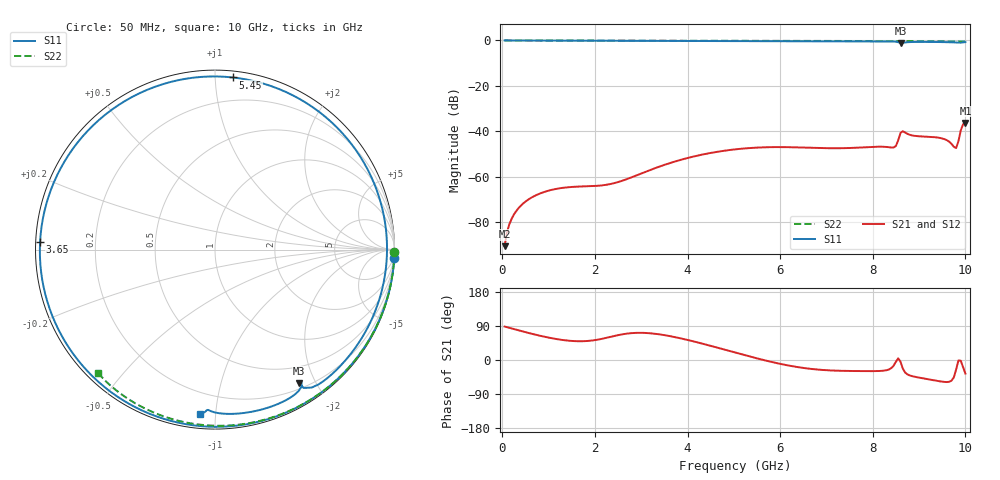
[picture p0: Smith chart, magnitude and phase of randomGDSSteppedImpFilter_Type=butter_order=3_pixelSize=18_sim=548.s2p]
! freq	dB(S11)	phase(S11)	dB(S12)	phase(S12)
!  dB(S21)	phase(S21)	dB(S22)	phase(S22)
!S-par simulation data
#  GHz  S  DB  R 50
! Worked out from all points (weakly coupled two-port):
!   200 points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, 50 MHz to 10 GHz, reference 50 ohm
!   highest |S21| = -36.33 dB at 10 GHz (marker M1); lowest = -90.5 dB at 50 MHz (marker M2)
!   lowest |S11| = -1.1 dB at 8.6 GHz (marker M3), VSWR 15.48, Z = 13.6 - j89 ohm
!   |S11| at or under -10 dB: nowhere
!   |S22| runs from -0.5 to 0.0 dB; largest |S21 - S12| = 0
!   S11 on the Smith chart (normalised r, x): 50 MHz: 0, -43; 3.65 GHz: 0.01, +0.02; 5.45 GHz: 0.04, +1.11; 10 GHz: 0.08, -0.91
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0.05  -0.00 -2.7  -90.53 88.3  -90.53 88.3  -0.00 -0.8
0.15  -0.01 -7.9  -81.02 84.9  -81.02 84.9  -0.00 -2.3
0.4  -0.03 -21.0  -72.72 76.6  -72.72 76.6  -0.01 -6.1
0.75  -0.05 -39.2  -67.89 65.8  -67.89 65.8  -0.01 -11.5
1.25  -0.08 -64.7  -65.02 53.7  -65.02 53.7  -0.02 -19.0
1.75  -0.11 -89.7  -64.23 49.6  -64.23 49.6  -0.03 -26.5
2.5  -0.15 -126.3  -62.32 65.6  -62.32 65.6  -0.05 -37.6
3.4  -0.20 -170.1  -55.46 67.6  -55.46 67.6  -0.07 -50.5
3.65  -0.22 177.5  -53.76 62.3  -53.76 62.3  -0.07 -54.0
4.3  -0.26 144.6  -50.31 43.8  -50.31 43.8  -0.09 -63.0
5.05  -0.30 105.3  -47.88 19.0  -47.88 19.0  -0.11 -73.0
5.45  -0.32 84.0  -47.21 5.9  -47.21 5.9  -0.13 -78.3
6  -0.33 55.2  -46.93 -10.2  -46.93 -10.2  -0.15 -85.3
6.7  -0.35 20.4  -47.26 -23.9  -47.26 -23.9  -0.18 -94.1
7.45  -0.38 -13.0  -47.36 -28.9  -47.36 -28.9  -0.23 -103.3
8.35  -0.43 -48.4  -46.98 -24.9  -46.98 -24.9  -0.29 -114.0
8.5  -0.55 -55.0  -46.41 -4.5  -46.41 -4.5  -0.30 -115.8
8.6  -1.12 -57.8  -40.67 -4.9  -40.67 -4.9  -0.31 -116.9
9.5  -0.71 -83.2  -43.13 -57.2  -43.13 -57.2  -0.40 -127.5
9.8  -0.91 -91.5  -47.36 -25.0  -47.36 -25.0  -0.44 -131.1
9.9  -0.97 -92.8  -39.60 -1.9  -39.60 -1.9  -0.47 -132.2
10  -0.73 -95.2  -36.33 -35.8  -36.33 -35.8  -0.47 -133.3
